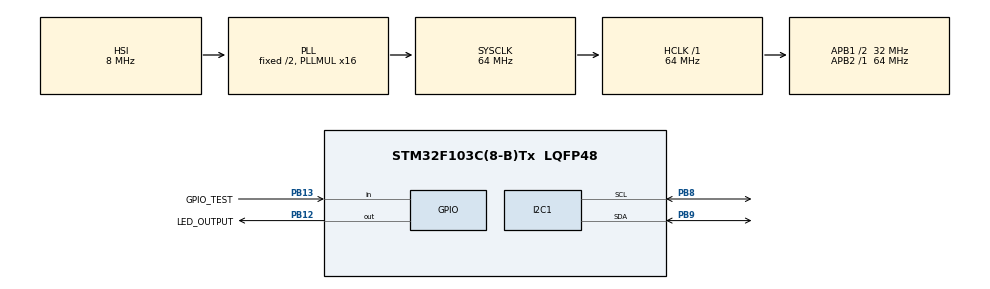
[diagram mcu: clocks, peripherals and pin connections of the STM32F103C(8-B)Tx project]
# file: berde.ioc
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Mcu.Family=STM32F1
Mcu.Name=STM32F103C(8-B)Tx
Mcu.Package=LQFP48
NVIC.PriorityGroup=NVIC_PRIORITYGROUP_4
PA13.Mode=Serial_Wire
PA13.Signal=SYS_JTMS-SWDIO
PA14.Mode=Serial_Wire
PA14.Signal=SYS_JTCK-SWCLK
PB12.GPIO_Label=LED_OUTPUT
PB12.GPIO_PuPd=GPIO_PULLDOWN
PB12.Signal=GPIO_Output
PB13.GPIO_Label=GPIO_TEST
PB13.GPIO_PuPd=GPIO_PULLDOWN
PB13.Signal=GPIO_Input
PB8.GPIO_Mode=GPIO_MODE_AF_OD
PB8.GPIO_Speed=GPIO_SPEED_FREQ_HIGH
PB8.Mode=I2C
PB8.Signal=I2C1_SCL
PB9.GPIO_Mode=GPIO_MODE_AF_OD
PB9.GPIO_Speed=GPIO_SPEED_FREQ_HIGH
PB9.Mode=I2C
PB9.Signal=I2C1_SDA
ProjectManager.HeapSize=0x200
ProjectManager.StackSize=0x400
ProjectManager.TargetToolchain=STM32CubeIDE
RCC.AHBFreq_Value=64000000
RCC.APB1CLKDivider=RCC_HCLK_DIV2
RCC.APB1Freq_Value=32000000
RCC.APB1TimFreq_Value=64000000
RCC.APB2Freq_Value=64000000
RCC.APB2TimFreq_Value=64000000
RCC.HCLKFreq_Value=64000000
RCC.PLLMUL=RCC_PLL_MUL16
RCC.SYSCLKFreq_VALUE=64000000
RCC.SYSCLKSource=RCC_SYSCLKSOURCE_PLLCLK
RCC.USBFreq_Value=64000000
board=custom

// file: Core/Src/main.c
/* USER CODE BEGIN Header */
/**
  ******************************************************************************
  * @file           : main.c
  * @brief          : Main program body
  ******************************************************************************
  * @attention
  *
  * Copyright (c) 2024 STMicroelectronics.
  * All rights reserved.
  *
  * This software is licensed under terms that can be found in the LICENSE file
  * in the root directory of this software component.
  * If no LICENSE file comes with this software, it is provided AS-IS.
  *
  ******************************************************************************
  */
/* USER CODE END Header */
#include <htu21d_sensor.h>
#include "main.h"

/* USER CODE BEGIN PD */
#define LED_DELAY (50)
/* USER CODE END PD */

I2C_HandleTypeDef hi2c1;

void SystemClock_Config(void);
static void MX_GPIO_Init(void);
static void MX_I2C1_Init(void);

int main(void)
{

  /* MCU Configuration--------------------------------------------------------*/

  /* Reset of all peripherals, Initializes the Flash interface and the Systick. */
  HAL_Init();

  /* Configure the system clock */
  SystemClock_Config();

  /* Initialize all configured peripherals */
  MX_GPIO_Init();
  MX_I2C1_Init();

  /* Infinite loop */
  /* USER CODE BEGIN WHILE */
  uint32_t then = 0U;
  uint32_t now = 0U;
  double temp = 0.0;
  double hum = 0.0;
  HTU21D_STATUS htuStatus = HTU21D_OK;
  GPIO_PinState pinTest = 0U;
  uint8_t htu21dReg = 0U;

  HAL_Delay(50);
  if(HTU21D_OK != HTU21D_init(&hi2c1))
  {
	  NVIC_SystemReset();
  }

  while (1)
  {
    /* USER CODE END WHILE */

    /* USER CODE BEGIN 3 */

	  /* Blink LED every LED_DELAY ms */
	  now = HAL_GetTick();
	  if((now - then) >= LED_DELAY)
	  {
		  HAL_GPIO_TogglePin(LED_OUTPUT_GPIO_Port, LED_OUTPUT_Pin);
		  then = now;
	  }

	  /* Useless boilerplate from previous project - can be removed */
	  pinTest = HAL_GPIO_ReadPin(GPIO_TEST_GPIO_Port, GPIO_TEST_Pin);

	  if(GPIO_PIN_SET == pinTest)
	  {
		  HAL_Delay(200);
	  }

	  /* Get registers */
	  htuStatus |= HTU21D_getRegisters(&htu21dReg);

	  /* Check if bat status is clear */
	  if((htu21dReg & HTU21D_MASK_BAT) == 0U)
	  {
		  /* Read humidity */
		  htuStatus |= HTU21D_readHumidity(&hum);
		  /* Read temperature */
		  htuStatus |= HTU21D_readTemperature(&temp);
	  }

	 if(htuStatus != HTU21D_OK)
	 {
		 /* Error occured */
		 while(1)
		 {
			 HAL_GPIO_WritePin(LED_OUTPUT_GPIO_Port, LED_OUTPUT_Pin, GPIO_PIN_SET);
		 }
	 }

	  //HAL_IWDG_Refresh(&hiwdg);
  }
  /* USER CODE END 3 */
}

void SystemClock_Config(void)
{
  RCC_OscInitTypeDef RCC_OscInitStruct = {0};
  RCC_ClkInitTypeDef RCC_ClkInitStruct = {0};

  /** Initializes the RCC Oscillators according to the specified parameters
  * in the RCC_OscInitTypeDef structure.
  */
  RCC_OscInitStruct.OscillatorType = RCC_OSCILLATORTYPE_HSI;
  RCC_OscInitStruct.HSIState = RCC_HSI_ON;
  RCC_OscInitStruct.HSICalibrationValue = RCC_HSICALIBRATION_DEFAULT;
  RCC_OscInitStruct.PLL.PLLState = RCC_PLL_ON;
  RCC_OscInitStruct.PLL.PLLSource = RCC_PLLSOURCE_HSI_DIV2;
  RCC_OscInitStruct.PLL.PLLMUL = RCC_PLL_MUL16;
  if (HAL_RCC_OscConfig(&RCC_OscInitStruct) != HAL_OK)
  {
    Error_Handler();
  }

  /** Initializes the CPU, AHB and APB buses clocks
  */
  RCC_ClkInitStruct.ClockType = RCC_CLOCKTYPE_HCLK|RCC_CLOCKTYPE_SYSCLK
                              |RCC_CLOCKTYPE_PCLK1|RCC_CLOCKTYPE_PCLK2;
  RCC_ClkInitStruct.SYSCLKSource = RCC_SYSCLKSOURCE_PLLCLK;
  RCC_ClkInitStruct.AHBCLKDivider = RCC_SYSCLK_DIV1;
  RCC_ClkInitStruct.APB1CLKDivider = RCC_HCLK_DIV2;
  RCC_ClkInitStruct.APB2CLKDivider = RCC_HCLK_DIV1;

  if (HAL_RCC_ClockConfig(&RCC_ClkInitStruct, FLASH_LATENCY_2) != HAL_OK)
  {
    Error_Handler();
  }
}

static void MX_I2C1_Init(void)
{

  hi2c1.Instance = I2C1;
  hi2c1.Init.ClockSpeed = 100000;
  hi2c1.Init.DutyCycle = I2C_DUTYCYCLE_2;
  hi2c1.Init.OwnAddress1 = 0;
  hi2c1.Init.AddressingMode = I2C_ADDRESSINGMODE_7BIT;
  hi2c1.Init.DualAddressMode = I2C_DUALADDRESS_DISABLE;
  hi2c1.Init.OwnAddress2 = 0;
  hi2c1.Init.GeneralCallMode = I2C_GENERALCALL_DISABLE;
  hi2c1.Init.NoStretchMode = I2C_NOSTRETCH_DISABLE;
  if (HAL_I2C_Init(&hi2c1) != HAL_OK)
  {
    Error_Handler();
  }

}

static void MX_GPIO_Init(void)
{
  GPIO_InitTypeDef GPIO_InitStruct = {0};

  /* GPIO Ports Clock Enable */
  __HAL_RCC_GPIOC_CLK_ENABLE();
  __HAL_RCC_GPIOD_CLK_ENABLE();
  __HAL_RCC_GPIOA_CLK_ENABLE();
  __HAL_RCC_GPIOB_CLK_ENABLE();

  /*Configure GPIO pin Output Level */
  HAL_GPIO_WritePin(LED_OUTPUT_GPIO_Port, LED_OUTPUT_Pin, GPIO_PIN_RESET);

  /*Configure GPIO pins : PC13 PC14 PC15 */
  GPIO_InitStruct.Pin = GPIO_PIN_13|GPIO_PIN_14|GPIO_PIN_15;
  GPIO_InitStruct.Mode = GPIO_MODE_ANALOG;
  HAL_GPIO_Init(GPIOC, &GPIO_InitStruct);

  /*Configure GPIO pins : PD0 PD1 */
  GPIO_InitStruct.Pin = GPIO_PIN_0|GPIO_PIN_1;
  GPIO_InitStruct.Mode = GPIO_MODE_ANALOG;
  HAL_GPIO_Init(GPIOD, &GPIO_InitStruct);

  /*Configure GPIO pins : PA0 PA1 PA2 PA3
                           PA4 PA5 PA6 PA7
                           PA8 PA9 PA10 PA11
                           PA12 PA15 */
  GPIO_InitStruct.Pin = GPIO_PIN_0|GPIO_PIN_1|GPIO_PIN_2|GPIO_PIN_3
                          |GPIO_PIN_4|GPIO_PIN_5|GPIO_PIN_6|GPIO_PIN_7
                          |GPIO_PIN_8|GPIO_PIN_9|GPIO_PIN_10|GPIO_PIN_11
                          |GPIO_PIN_12|GPIO_PIN_15;
  GPIO_InitStruct.Mode = GPIO_MODE_ANALOG;
  HAL_GPIO_Init(GPIOA, &GPIO_InitStruct);

  /*Configure GPIO pins : PB0 PB1 PB2 PB10
                           PB11 PB14 PB15 PB3
                           PB4 PB5 PB6 PB7 */
  GPIO_InitStruct.Pin = GPIO_PIN_0|GPIO_PIN_1|GPIO_PIN_2|GPIO_PIN_10
                          |GPIO_PIN_11|GPIO_PIN_14|GPIO_PIN_15|GPIO_PIN_3
                          |GPIO_PIN_4|GPIO_PIN_5|GPIO_PIN_6|GPIO_PIN_7;
  GPIO_InitStruct.Mode = GPIO_MODE_ANALOG;
  HAL_GPIO_Init(GPIOB, &GPIO_InitStruct);

  /*Configure GPIO pin : LED_OUTPUT_Pin */
  GPIO_InitStruct.Pin = LED_OUTPUT_Pin;
  GPIO_InitStruct.Mode = GPIO_MODE_OUTPUT_PP;
  GPIO_InitStruct.Pull = GPIO_PULLDOWN;
  GPIO_InitStruct.Speed = GPIO_SPEED_FREQ_LOW;
  HAL_GPIO_Init(LED_OUTPUT_GPIO_Port, &GPIO_InitStruct);

  /*Configure GPIO pin : GPIO_TEST_Pin */
  GPIO_InitStruct.Pin = GPIO_TEST_Pin;
  GPIO_InitStruct.Mode = GPIO_MODE_INPUT;
  GPIO_InitStruct.Pull = GPIO_PULLDOWN;
  HAL_GPIO_Init(GPIO_TEST_GPIO_Port, &GPIO_InitStruct);

  /*Configure peripheral I/O remapping */
  __HAL_AFIO_REMAP_PD01_ENABLE();

}

void Error_Handler(void)
{
  __disable_irq();
  while (1)
  {
  }
}
